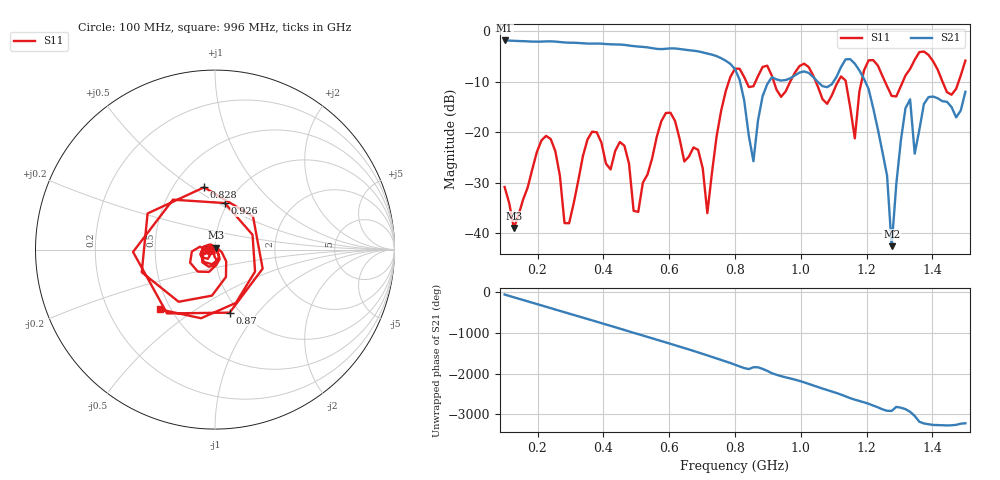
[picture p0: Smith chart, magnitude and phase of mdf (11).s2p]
! NanoVNA-App
! Date: 2025-09-25 15:38:31
! Start: 100MHz Stop: 1,5GHz Points: 101
! S-Parameter data: F S11 S21 S12 S22
# Hz S RI R 50
!  Frequency  S11_Real  S11_Imag  S21_Real  S21_Imag  S12_Real  S12_Imag  S22_Real  S22_Imag
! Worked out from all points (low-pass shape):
!   101 points, 100 MHz to 1.5 GHz, reference 50 ohm
!   highest |S21| = -1.80 dB at 100 MHz (marker M1); lowest = -42.5 dB at 1.276 GHz (marker M2)
!   |S21| within 3 dB of the highest: start of sweep to 739.1 MHz
!   lowest |S11| = -38.9 dB at 128 MHz (marker M3), VSWR 1.02, Z = 50.3 + j1.08 ohm
!   |S11| at or under -10 dB: start of sweep to 781 MHz; 1.046 GHz to 1.113 GHz (67.1 MHz wide, 6.22 % of centre); 1.256 GHz to 1.31 GHz (53.58 MHz wide, 4.18 % of centre) (the widest 3 of 7)
!   S12 and S22 are empty: the file has one direction only
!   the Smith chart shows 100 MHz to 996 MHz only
!   S11 on the Smith chart (normalised r, x): 100 MHz: 0.94, -0.01; 828 MHz: 0.70, +0.56; 870 MHz: 0.90, -0.73; 926 MHz: 0.97, +0.54; 996 MHz: 0.44, -0.37
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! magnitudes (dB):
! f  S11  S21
! 100 MHz  -30.8  -1.8
! 128 MHz  -38.9  -1.9
! 212 MHz  -21.6  -2.0
! 282 MHz  -38.0  -2.2
! 338 MHz  -24.7  -2.4
! 464 MHz  -22.6  -2.7
! 506 MHz  -35.7  -3.0
! 576 MHz  -17.8  -3.5
! 716 MHz  -36.0  -4.4
! 800 MHz  -7.4  -7.5
! 828 MHz  -9.1  -13.7
! 856 MHz  -10.9  -25.7
! 870 MHz  -8.9  -17.6
! 926 MHz  -11.5  -9.5
! 996 MHz  -6.9  -8.2
! 1.038 GHz  -8.8  -9.1
! 1.164 GHz  -21.2  -6.4
! 1.192 GHz  -7.7  -9.4
! 1.276 GHz  -12.8  -42.5
! 1.318 GHz  -8.7  -15.2
! 1.346 GHz  -5.6  -24.2
! 1.5 GHz  -5.8  -12.0
